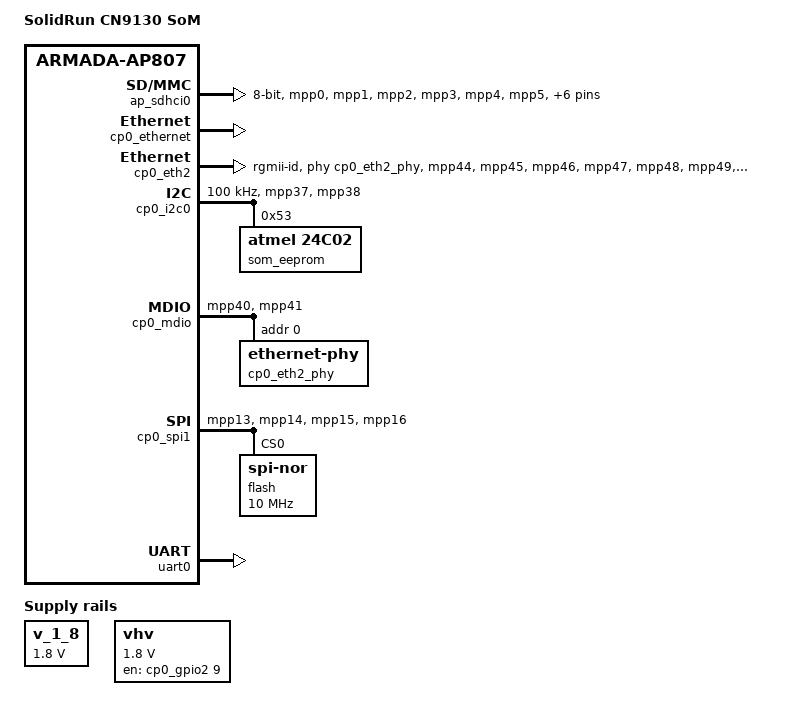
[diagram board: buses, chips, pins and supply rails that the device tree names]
// SPDX-License-Identifier: (GPL-2.0+ OR MIT)
/*
 * Copyright (C) 2024 Josua Mayer <josua@solid-run.com>
 *
 */

#include <dt-bindings/gpio/gpio.h>

/ {
	model = "SolidRun CN9130 SoM";
	compatible = "solidrun,cn9130-sr-som", "marvell,cn9130",
		     "marvell,armada-ap807-quad", "marvell,armada-ap807";

	aliases {
		/* label nics like armada-388 som */
		ethernet0 = &cp0_eth2;
		ethernet1 = &cp0_eth1;
		ethernet2 = &cp0_eth0;
		i2c0 = &cp0_i2c0;
		mmc0 = &ap_sdhci0;
		rtc0 = &cp0_rtc;
	};

	chosen {
		stdout-path = "serial0:115200n8";
	};

	v_1_8: regulator-1-8 {
		compatible = "regulator-fixed";
		regulator-name = "1v8";
		regulator-min-microvolt = <1800000>;
		regulator-max-microvolt = <1800000>;
	};

	/* requires assembly of R9307 */
	vhv: regulator-vhv-1-8 {
		compatible = "regulator-fixed";
		regulator-name = "vhv-1v8";
		regulator-min-microvolt = <1800000>;
		regulator-max-microvolt = <1800000>;
		pinctrl-0 = <&cp0_reg_vhv_pins>;
		pinctrl-names = "default";
		gpio = <&cp0_gpio2 9 GPIO_ACTIVE_HIGH>;
		enable-active-high;
	};
};

&ap_pinctrl {
	ap_mmc0_pins: ap-mmc0-pins {
		marvell,pins = "mpp0", "mpp1", "mpp2", "mpp3", "mpp4", "mpp5",
					   "mpp6", "mpp7", "mpp8", "mpp9", "mpp10", "mpp12";
		marvell,function = "sdio";
		/*
		 * mpp12 is emmc reset, function should be sdio (hw_rst),
		 * but pinctrl-mvebu does not support this.
		 *
		 * From pinctrl-mvebu.h:
		 * "The name will be used to switch to this setting in DT description, e.g.
		 * marvell,function = "uart2". subname is only for debugging purposes."
		 */
	};
};

&ap_sdhci0 {
	bus-width = <8>;
	pinctrl-0 = <&ap_mmc0_pins>;
	pinctrl-names = "default";
	vqmmc-supply = <&v_1_8>;
	status = "okay";
};

&cp0_ethernet {
	status = "okay";
};

/* for assembly with phy */
&cp0_eth2 {
	pinctrl-names = "default";
	pinctrl-0 = <&cp0_eth2_pins>;
	phy-mode = "rgmii-id";
	phy = <&cp0_eth2_phy>;
	status = "okay";
};

&cp0_i2c0 {
	status = "okay";
	pinctrl-names = "default";
	pinctrl-0 = <&cp0_i2c0_pins>;
	clock-frequency = <100000>;
	status = "okay";

	som_eeprom: eeprom@53 {
		compatible = "atmel,24c02";
		reg = <0x53>;
		pagesize = <8>;
	};
};

&cp0_mdio {
	status = "okay";
	pinctrl-0 = <&cp0_mdio_pins>;

	/* assembly option */
	cp0_eth2_phy: ethernet-phy@0 {
		reg = <0>;
	};
};

&cp0_spi1 {
	status = "okay";
	pinctrl-names = "default";
	pinctrl-0 = <&cp0_spi1_pins>;

	flash@0 {
		compatible = "jedec,spi-nor";
		reg = <0>;
		spi-max-frequency = <10000000>;
	};
};

&cp0_syscon0 {
	cp0_pinctrl: pinctrl {
		compatible = "marvell,cp115-standalone-pinctrl";

		cp0_eth2_pins: cp0-ge2-rgmii-pins {
			marvell,pins = "mpp44", "mpp45", "mpp46", "mpp47",
				       "mpp48", "mpp49", "mpp50", "mpp51",
				       "mpp52", "mpp53", "mpp54", "mpp55";
			/* docs call it "ge2", but cp110-pinctrl "ge1" */
			marvell,function = "ge1";
		};

		cp0_i2c0_pins: cp0-i2c0-pins {
			marvell,pins = "mpp37", "mpp38";
			marvell,function = "i2c0";
		};

		cp0_mdio_pins: cp0-mdio-pins {
			marvell,pins = "mpp40", "mpp41";
			marvell,function = "ge";
		};

		cp0_spi1_pins: cp0-spi1-pins {
			marvell,pins = "mpp13", "mpp14", "mpp15", "mpp16";
			marvell,function = "spi1";
		};

		cp0_reg_vhv_pins: cp0-reg-vhv-pins {
			marvell,pins = "mpp41";
			marvell,function = "gpio";
		};
	};
};

/* AP default console */
&uart0 {
	pinctrl-0 = <&uart0_pins>;
	pinctrl-names = "default";
	status = "okay";
};
